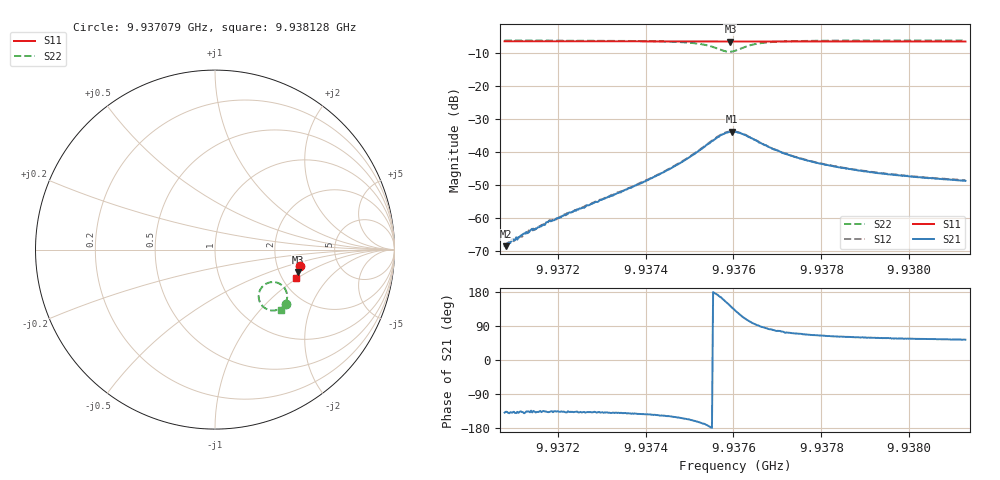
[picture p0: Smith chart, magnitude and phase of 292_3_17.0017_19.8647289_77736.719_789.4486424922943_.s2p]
#  HZ  S  RI  R  50.00
! Rohde & Schwarz Vector Network Analyzer
! Rohde-Schwarz,ZNB20-2Port,1311601062101988,3.16
! Created: UTC 3/20/2024, 11:05:09 PM
! freq[Hz]  re:S11  im:S11  re:S21  im:S21  re:S12  im:S12  re:S22  im:S22
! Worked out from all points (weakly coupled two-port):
!   401 points, 9.937079 GHz to 9.938128 GHz, reference 50 ohm
!   highest |S21| = -33.83 dB at 9.937596 GHz (marker M1); lowest = -68.7 dB at 9.937082 GHz (marker M2)
!   lowest |S11| = -6.4 dB at 9.937593 GHz (marker M3), VSWR 2.85, Z = 127 - j41.4 ohm
!   |S11| at or under -10 dB: nowhere
!   |S22| runs from -9.5 to -6.1 dB; largest |S21 - S12| = 0.00094
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9.9370792e9  0.4754 -0.0929  -0.000282 -0.000246  -0.000282 -0.000238  0.3945 -0.3044
9.9370818e9  0.4754 -0.093  -0.000268 -0.000253  -0.000299 -0.000235  0.3942 -0.3047
9.9370923e9  0.4751 -0.0936  -0.000306 -0.000277  -0.000316 -0.000266  0.3936 -0.3054
9.9371237e9  0.4745 -0.0958  -0.000444 -0.000367  -0.000417 -0.000379  0.391 -0.3077
9.9371657e9  0.4739 -0.0988  -0.000559 -0.00055  -0.000552 -0.000527  0.3878 -0.3108
9.9371788e9  0.4735 -0.0996  -0.000644 -0.000589  -0.000629 -0.000605  0.3867 -0.3119
9.9372548e9  0.472 -0.1048  -0.00105 -0.000932  -0.00105 -0.000942  0.3796 -0.3179
9.9373754e9  0.4696 -0.1128  -0.00241 -0.00194  -0.00246 -0.00189  0.3619 -0.3297
9.9374305e9  0.4684 -0.1166  -0.00374 -0.00254  -0.00384 -0.00255  0.3473 -0.3357
9.9374829e9  0.467 -0.1203  -0.0063 -0.00316  -0.00646 -0.00309  0.3235 -0.3394
9.9375353e9  0.4652 -0.1237  -0.012 -0.00232  -0.0123 -0.00191  0.2767 -0.3249
9.9375694e9  0.4636 -0.1252  -0.0173 0.00414  -0.0174 0.00457  0.2438 -0.2685
9.937593e9  0.463 -0.1259  -0.0162 0.0124  -0.0159 0.013  0.2653 -0.2051
9.9375956e9  0.4631 -0.126  -0.0155 0.0133  -0.0153 0.0139  0.2713 -0.1995
9.9376035e9  0.4631 -0.1261  -0.0133 0.0154  -0.013 0.0161  0.2919 -0.187
9.9376244e9  0.4634 -0.1271  -0.00658 0.0171  -0.00608 0.0175  0.3472 -0.1846
9.9376585e9  0.4636 -0.1296  -4.57e-05 0.0139  0.000502 0.0142  0.3919 -0.221
9.9377136e9  0.4627 -0.1336  0.00259 0.00925  0.00274 0.00936  0.4021 -0.2651
9.9377791e9  0.4611 -0.1382  0.00291 0.00649  0.00302 0.00652  0.397 -0.2904
9.937863e9  0.4592 -0.1438  0.00267 0.0048  0.00282 0.00481  0.3889 -0.3075
9.9379547e9  0.4571 -0.1498  0.00245 0.00385  0.00258 0.00385  0.3811 -0.3194
9.9381278e9  0.4524 -0.161  0.00216 0.00293  0.00225 0.00296  0.3687 -0.3337
